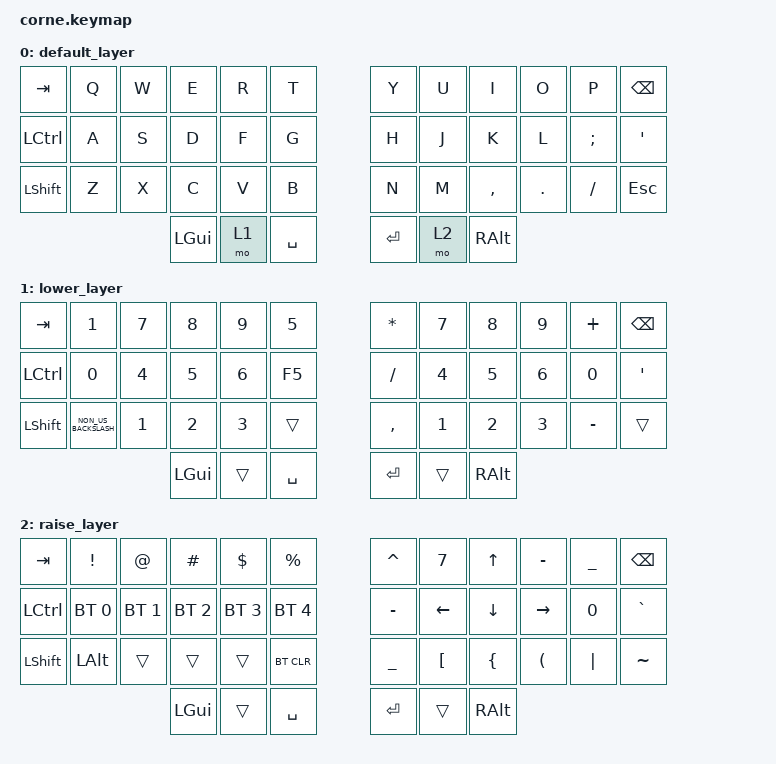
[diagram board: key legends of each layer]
/*
 * Copyright (c) 2020 The ZMK Contributors
 *
 * SPDX-License-Identifier: MIT
 */

#include <behaviors.dtsi>
#include <dt-bindings/zmk/bt.h>
#include <dt-bindings/zmk/keys.h>

/ {
    keymap {
        compatible = "zmk,keymap";

        default_layer {
            // -----------------------------------------------------------------------------------------
            // |  TAB |  Q  |  W  |  E  |  R  |  T  |   |  Y  |  U   |  I  |  O  |  P  | BSPC |
            // | CTRL |  A  |  S  |  D  |  F  |  G  |   |  H  |  J   |  K  |  L  |  ;  |  '   |
            // | SHFT |  Z  |  X  |  C  |  V  |  B  |   |  N  |  M   |  ,  |  .  |  /  | ESC  |
            //                    | GUI | LWR | SPC |   | ENT | RSE  | ALT |

            bindings = <
&kp TAB     &kp Q  &kp W  &kp E     &kp R  &kp T        &kp Y    &kp U  &kp I      &kp O    &kp P     &kp BSPC
&kp LCTRL   &kp A  &kp S  &kp D     &kp F  &kp G        &kp H    &kp J  &kp K      &kp L    &kp SEMI  &kp SQT
&kp LSHIFT  &kp Z  &kp X  &kp C     &kp V  &kp B        &kp N    &kp M  &kp COMMA  &kp DOT  &kp FSLH  &kp ESC
                          &kp LGUI  &mo 1  &kp SPACE    &kp RET  &mo 2  &kp RALT
            >;
        };

        lower_layer {
            // -----------------------------------------------------------------------------------------
            // |  TAB |  1  |  2  |  3  |  4  |  5  |   |  6  |  7  |  8  |  9  |  0  | BSPC |
            // | BTCLR| BT1 | BT2 | BT3 | BT4 | BT5 |   | LFT | DWN |  UP | RGT |     |      |
            // | SHFT |     |     |     |     |     |   |     |     |     |     |     |      |
            //                    | GUI |     | SPC |   | ENT |     | ALT |

            bindings = <
&kp TAB         &kp N1         &kp N7        &kp N8        &kp N9        &kp N5       &kp ASTERISK  &kp N7        &kp N8        &kp N9        &kp PLUS   &kp BSPC
&kp LCTRL       &kp N0         &kp NUMBER_4  &kp N5        &kp NUMBER_6  &kp F5       &kp SLASH     &kp NUMBER_4  &kp N5        &kp NUMBER_6  &kp N0     &kp SQT
&kp LEFT_SHIFT  &kp NON_US_BACKSLASH  &kp NUMBER_1  &kp NUMBER_2  &kp NUMBER_3  &trans       &kp COMMA     &kp NUMBER_1  &kp NUMBER_2  &kp NUMBER_3  &kp MINUS  &trans
                                             &kp LGUI      &trans        &kp SPACE    &kp RET       &trans        &kp RALT
            >;
        };

        raise_layer {
            // -----------------------------------------------------------------------------------------
            // |  TAB |  !  |  @  |  #  |  $  |  %  |   |  ^  |  &  |  *  |  (  |  )  | BSPC |
            // | CTRL |     |     |     |     |     |   |  -  |  =  |  [  |  ]  |  \  |  `   |
            // | SHFT |     |     |     |     |     |   |  _  |  +  |  {  |  }  | "|" |  ~   |
            //                    | GUI |     | SPC |   | ENT |     | ALT |

            bindings = <
&kp TAB         &kp EXCL      &kp AT        &kp HASH      &kp DLLR      &kp PRCNT       &kp CARET  &kp N7            &kp UP_ARROW    &kp MINUS             &kp UNDERSCORE  &kp BSPC
&kp LCTRL       &bt BT_SEL 0  &bt BT_SEL 1  &bt BT_SEL 2  &bt BT_SEL 3  &bt BT_SEL 4    &kp MINUS  &kp LEFT          &kp DOWN_ARROW  &kp RIGHT             &kp N0          &kp GRAVE
&kp LEFT_SHIFT  &kp LEFT_ALT  &trans        &trans        &trans        &bt BT_CLR      &kp UNDER  &kp LEFT_BRACKET  &kp LEFT_BRACE  &kp LEFT_PARENTHESIS  &kp PIPE        &kp TILDE
                                            &kp LGUI      &trans        &kp SPACE       &kp RET    &trans            &kp RALT
            >;
        };
    };
};
